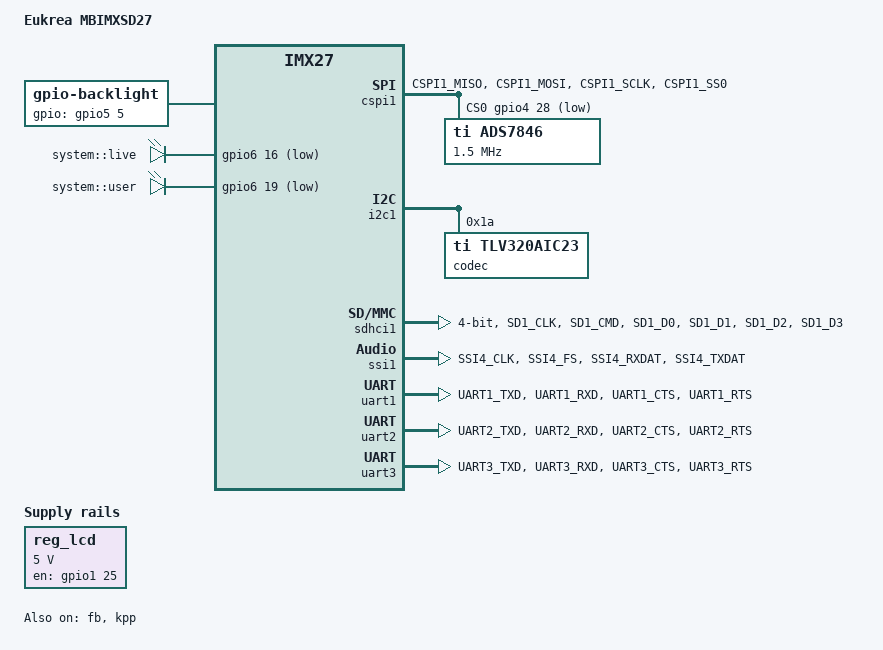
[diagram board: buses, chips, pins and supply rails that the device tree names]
/*
 * Copyright (C) 2014 Alexander Shiyan <shc_work@mail.ru>
 *
 * The code contained herein is licensed under the GNU General Public
 * License. You may obtain a copy of the GNU General Public License
 * Version 2 or later at the following locations:
 *
 * http://www.opensource.org/licenses/gpl-license.html
 * http://www.gnu.org/copyleft/gpl.html
 */

#include "imx27-eukrea-cpuimx27.dtsi"

/ {
	model = "Eukrea MBIMXSD27";
	compatible = "eukrea,mbimxsd27-baseboard", "eukrea,cpuimx27", "fsl,imx27";

	display0: CMO-QVGA {
		model = "CMO-QVGA";
		native-mode = <&timing0>;
		bits-per-pixel = <16>;
		fsl,pcr = <0xfad08b80>;

		display-timings {
			timing0: 320x240 {
				clock-frequency = <6500000>;
				hactive = <320>;
				vactive = <240>;
				hback-porch = <20>;
				hsync-len = <30>;
				hfront-porch = <38>;
				vback-porch = <4>;
				vsync-len = <3>;
				vfront-porch = <15>;
			};
		};
	};

	backlight {
		compatible = "gpio-backlight";
		pinctrl-names = "default";
		pinctrl-0 = <&pinctrl_backlight>;
		gpios = <&gpio5 5 GPIO_ACTIVE_HIGH>;
	};

	leds {
		compatible = "gpio-leds";
		pinctrl-names = "default";
		pinctrl-0 = <&pinctrl_gpioleds>;

		led1 {
			label = "system::live";
			gpios = <&gpio6 16 GPIO_ACTIVE_LOW>;
			linux,default-trigger = "heartbeat";
		};

		led2 {
			label = "system::user";
			gpios = <&gpio6 19 GPIO_ACTIVE_LOW>;
		};
	};

	regulators {
		#address-cells = <1>;
		#size-cells = <0>;
		compatible = "simple-bus";

		reg_lcd: regulator@0 {
			pinctrl-names = "default";
			pinctrl-0 = <&pinctrl_lcdreg>;
			compatible = "regulator-fixed";
			reg = <0>;
			regulator-name = "LCD";
			regulator-min-microvolt = <5000000>;
			regulator-max-microvolt = <5000000>;
			gpio = <&gpio1 25 GPIO_ACTIVE_HIGH>;
			enable-active-high;
		};
	};
};

&cspi1 {
	pinctrl-0 = <&pinctrl_cspi1>;
	cs-gpios = <&gpio4 28 GPIO_ACTIVE_LOW>;
	status = "okay";

	ads7846 {
		compatible = "ti,ads7846";
		pinctrl-names = "default";
		pinctrl-0 = <&pinctrl_touch>;
		reg = <0>;
		interrupts = <&gpio4 25 IRQ_TYPE_LEVEL_LOW>;
		spi-cpol;
		spi-max-frequency = <1500000>;
		ti,keep-vref-on;
	};
};

&fb {
	pinctrl-names = "default";
	pinctrl-0 = <&pinctrl_imxfb>;
	display = <&display0>;
	lcd-supply = <&reg_lcd>;
	fsl,dmacr = <0x00040060>;
	fsl,lscr1 = <0x00120300>;
	fsl,lpccr = <0x00a903ff>;
	status = "okay";
};

&i2c1 {
	codec: codec@1a {
		compatible = "ti,tlv320aic23";
		reg = <0x1a>;
	};
};

&kpp {
	linux,keymap = <
		MATRIX_KEY(0, 0, KEY_UP)
		MATRIX_KEY(0, 1, KEY_DOWN)
		MATRIX_KEY(1, 0, KEY_RIGHT)
		MATRIX_KEY(1, 1, KEY_LEFT)
	>;
	status = "okay";
};

&sdhci1 {
	pinctrl-names = "default";
	pinctrl-0 = <&pinctrl_sdhc1>;
	bus-width = <4>;
	status = "okay";
};

&ssi1 {
	pinctrl-names = "default";
	pinctrl-0 = <&pinctrl_ssi1>;
	codec-handle = <&codec>;
	status = "okay";
};

&uart1 {
	uart-has-rtscts;
	pinctrl-names = "default";
	pinctrl-0 = <&pinctrl_uart1>;
	status = "okay";
};

&uart2 {
	uart-has-rtscts;
	pinctrl-names = "default";
	pinctrl-0 = <&pinctrl_uart2>;
	status = "okay";
};

&uart3 {
	uart-has-rtscts;
	pinctrl-names = "default";
	pinctrl-0 = <&pinctrl_uart3>;
	status = "okay";
};

&iomuxc {
	imx27-eukrea-cpuimx27-baseboard {
		pinctrl_cspi1: cspi1grp {
			fsl,pins = <
				MX27_PAD_CSPI1_MISO__CSPI1_MISO	0x0
				MX27_PAD_CSPI1_MOSI__CSPI1_MOSI	0x0
				MX27_PAD_CSPI1_SCLK__CSPI1_SCLK	0x0
				MX27_PAD_CSPI1_SS0__GPIO4_28	0x0 /* CS0 */
			>;
		};

		pinctrl_backlight: backlightgrp {
			fsl,pins = <
				MX27_PAD_PWMO__GPIO5_5		0x0
			>;
		};

		pinctrl_gpioleds: gpioledsgrp {
			fsl,pins = <
				MX27_PAD_PC_PWRON__GPIO6_16	0x0
				MX27_PAD_PC_CD2_B__GPIO6_19	0x0
			>;
		};

		pinctrl_imxfb: imxfbgrp {
			fsl,pins = <
				MX27_PAD_LD0__LD0		0x0
				MX27_PAD_LD1__LD1		0x0
				MX27_PAD_LD2__LD2		0x0
				MX27_PAD_LD3__LD3		0x0
				MX27_PAD_LD4__LD4		0x0
				MX27_PAD_LD5__LD5		0x0
				MX27_PAD_LD6__LD6		0x0
				MX27_PAD_LD7__LD7		0x0
				MX27_PAD_LD8__LD8		0x0
				MX27_PAD_LD9__LD9		0x0
				MX27_PAD_LD10__LD10		0x0
				MX27_PAD_LD11__LD11		0x0
				MX27_PAD_LD12__LD12		0x0
				MX27_PAD_LD13__LD13		0x0
				MX27_PAD_LD14__LD14		0x0
				MX27_PAD_LD15__LD15		0x0
				MX27_PAD_LD16__LD16		0x0
				MX27_PAD_LD17__LD17		0x0
				MX27_PAD_CONTRAST__CONTRAST	0x0
				MX27_PAD_OE_ACD__OE_ACD		0x0
				MX27_PAD_HSYNC__HSYNC		0x0
				MX27_PAD_VSYNC__VSYNC		0x0
			>;
		};

		pinctrl_lcdreg: lcdreggrp {
			fsl,pins = <
				MX27_PAD_CLS__GPIO1_25		0x0
			>;
		};

		pinctrl_sdhc1: sdhc1grp {
			fsl,pins = <
				MX27_PAD_SD1_CLK__SD1_CLK	0x0
				MX27_PAD_SD1_CMD__SD1_CMD	0x0
				MX27_PAD_SD1_D0__SD1_D0		0x0
				MX27_PAD_SD1_D1__SD1_D1		0x0
				MX27_PAD_SD1_D2__SD1_D2		0x0
				MX27_PAD_SD1_D3__SD1_D3		0x0
			>;
		};

		pinctrl_ssi1: ssi1grp {
			fsl,pins = <
				MX27_PAD_SSI4_CLK__SSI4_CLK	0x0
				MX27_PAD_SSI4_FS__SSI4_FS	0x0
				MX27_PAD_SSI4_RXDAT__SSI4_RXDAT	0x1
				MX27_PAD_SSI4_TXDAT__SSI4_TXDAT	0x1
			>;
		};

		pinctrl_touch: touchgrp {
			fsl,pins = <
				MX27_PAD_CSPI1_RDY__GPIO4_25	0x0 /* IRQ */
			>;
		};

		pinctrl_uart1: uart1grp {
			fsl,pins = <
				MX27_PAD_UART1_TXD__UART1_TXD	0x0
				MX27_PAD_UART1_RXD__UART1_RXD	0x0
				MX27_PAD_UART1_CTS__UART1_CTS	0x0
				MX27_PAD_UART1_RTS__UART1_RTS	0x0
			>;
		};

		pinctrl_uart2: uart2grp {
			fsl,pins = <
				MX27_PAD_UART2_TXD__UART2_TXD	0x0
				MX27_PAD_UART2_RXD__UART2_RXD	0x0
				MX27_PAD_UART2_CTS__UART2_CTS	0x0
				MX27_PAD_UART2_RTS__UART2_RTS	0x0
			>;
		};

		pinctrl_uart3: uart3grp {
			fsl,pins = <
				MX27_PAD_UART3_TXD__UART3_TXD	0x0
				MX27_PAD_UART3_RXD__UART3_RXD	0x0
				MX27_PAD_UART3_CTS__UART3_CTS	0x0
				MX27_PAD_UART3_RTS__UART3_RTS	0x0
			>;
		};
	};
};
